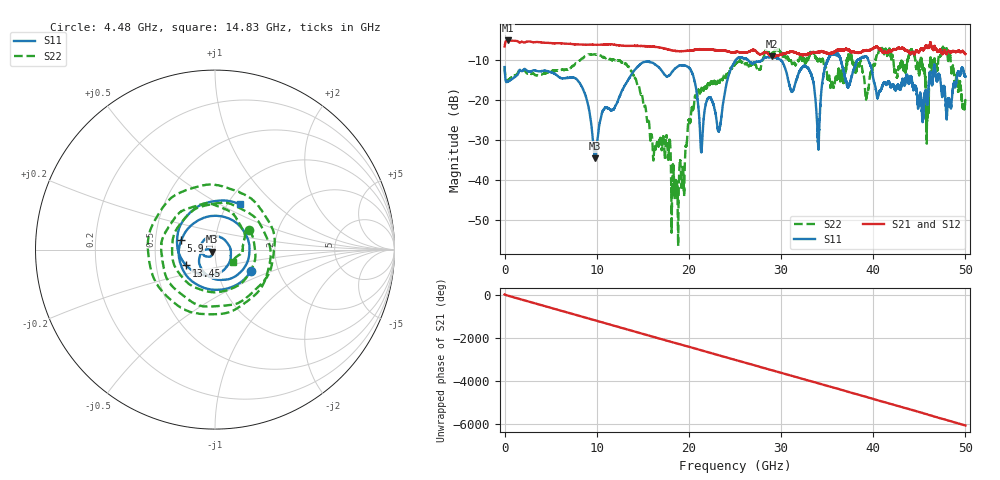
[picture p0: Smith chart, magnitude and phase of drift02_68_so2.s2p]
!Created with skrf (http://scikit-rf.org).
# Hz S RI R 50.0
!freq ReS11 ImS11 ReS21 ImS21 ReS12 ImS12 ReS22 ImS22
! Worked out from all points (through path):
!   10001 points, 300 kHz to 50 GHz, reference 50 ohm
!   highest |S21| = -5.03 dB at 325.3 MHz (marker M1); lowest = -9.0 dB at 29.05 GHz (marker M2)
!   group delay of S21, straight-line fit = 336 ps
!   lowest |S11| = -34.5 dB at 9.845 GHz (marker M3), VSWR 1.04, Z = 48.5 - j1.06 ohm
!   |S11| at or under -10 dB: start of sweep to 25.08 GHz; 29.98 GHz to 35.05 GHz (5.072 GHz wide, 15.6 % of centre); 39.48 GHz to end of sweep (the widest 3 of 6)
!   |S22| runs from -56.5 to -6.6 dB; largest |S21 - S12| = 0.022
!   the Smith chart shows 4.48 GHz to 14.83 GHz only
!   S11 on the Smith chart (normalised r, x): 4.48 GHz: 1.45, -0.36; 5.9 GHz: 0.68, +0.07; 13.45 GHz: 0.71, -0.13; 14.83 GHz: 1.14, +0.63
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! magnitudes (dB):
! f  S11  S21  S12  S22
! 300 kHz  -11.7  -6.5  -6.4  -11.5
! 325.3 MHz  -15.4  -5.0  -5.0  -15.1
! 4.48 GHz  -12.6  -5.6  -5.6  -13.2
! 5.9 GHz  -14.2  -5.7  -5.7  -12.4
! 8.335 GHz  -16.4  -6.0  -6.0  -9.6
! 9.845 GHz  -34.5  -6.1  -6.1  -8.5
! 13.45 GHz  -14.7  -6.4  -6.4  -11.6
! 14.83 GHz  -10.8  -6.4  -6.4  -18.5
! 16.67 GHz  -11.6  -6.7  -6.7  -31.2
! 18.66 GHz  -11.8  -7.7  -7.7  -40.4
! 20.37 GHz  -13.3  -7.5  -7.5  -21.9
! 21.37 GHz  -32.3  -7.2  -7.2  -16.8
! 23.31 GHz  -27.3  -7.5  -7.6  -15.6
! 25 GHz  -10.3  -8.0  -8.0  -11.2
! 29.05 GHz  -9.1  -9.0  -9.0  -8.2
! 33.34 GHz  -13.9  -8.1  -8.1  -8.1
! 34.02 GHz  -31.2  -7.9  -8.0  -10.4
! 35.5 GHz  -8.5  -8.1  -8.1  -15.5
! 41.67 GHz  -15.4  -7.7  -7.8  -7.5
! 45.86 GHz  -21.1  -6.7  -6.8  -21.6
! 47.77 GHz  -17.5  -7.6  -7.6  -7.4
! 50 GHz  -14.1  -8.4  -8.4  -20.0
